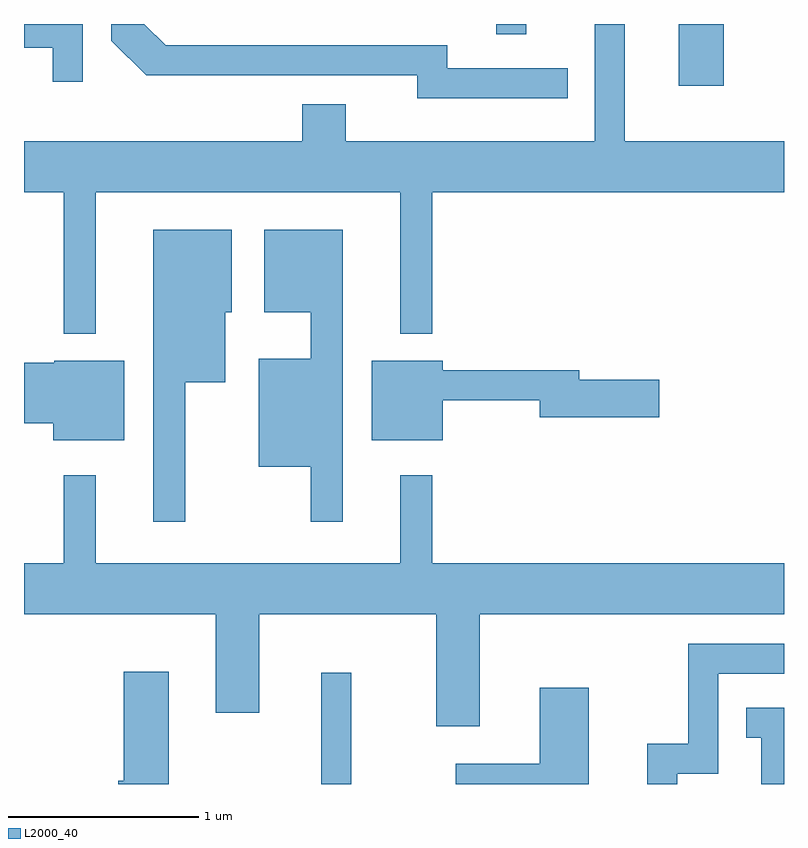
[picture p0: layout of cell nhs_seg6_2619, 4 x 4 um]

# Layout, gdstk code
import gdstk
lib = gdstk.Library(unit=1e-6, precision=1e-09)
def R(c, l, rs):  # rectangles x0, y0, x1, y1
    for r in rs: c.add(gdstk.rectangle(r[:2], r[2:], *l))
def P(c, l, *ps):  # polygons
    for p in ps: c.add(gdstk.Polygon(p, *l))
L2000_40 = (2000, 40)

nhs_seg6_2619 = lib.new_cell('nhs_seg6_2619')
R(nhs_seg6_2619, L2000_40, [(265.176,1640.162,265.334,1640.748), (267.056,1643.836,267.294,1644.162), (266.096,1644.108,266.254,1644.162)])
P(nhs_seg6_2619, L2000_40, [(263.989,1643.276),(265.591,1643.276),(265.591,1642.533),(265.759,1642.533),(265.759,1643.276),(267.611,1643.276),(267.611,1643.544),(266.774,1643.544),(266.774,1644.162),(266.616,1644.162),(266.616,1643.544),(265.304,1643.544),(265.304,1643.739),(265.076,1643.739),(265.076,1643.544),(263.611,1643.544),(263.611,1643.276),(263.821,1643.276),(263.821,1642.533),(263.989,1642.533)],
  [(266.473,1643.929),(265.839,1643.929),(265.839,1644.049),(264.357,1644.049),(264.244,1644.162),(264.071,1644.162),(264.071,1644.074),(264.254,1643.891),(265.681,1643.891),(265.681,1643.771),(266.473,1643.771)],
  [(263.919,1644.162),(263.611,1644.162),(263.611,1644.036),(263.761,1644.036),(263.761,1643.858),(263.919,1643.858)],
  [(265.289,1643.079),(264.876,1643.079),(264.876,1642.646),(265.121,1642.646),(265.121,1642.399),(264.846,1642.399),(264.846,1641.831),(265.121,1641.831),(265.121,1641.543),(265.289,1641.543)],
  [(264.459,1642.276),(264.669,1642.276),(264.669,1642.646),(264.704,1642.646),(264.704,1643.079),(264.291,1643.079),(264.291,1641.543),(264.459,1641.543)],
  [(265.814,1642.181),(266.326,1642.181),(266.326,1642.091),(266.954,1642.091),(266.954,1642.289),(266.534,1642.289),(266.534,1642.339),(265.814,1642.339),(265.814,1642.389),(265.441,1642.389),(265.441,1641.971),(265.814,1641.971)],
  [(264.139,1642.389),(263.77,1642.389),(263.77,1642.379),(263.611,1642.379),(263.611,1642.061),(263.766,1642.061),(263.766,1641.971),(264.139,1641.971)],
  [(265.759,1641.788),(265.591,1641.788),(265.591,1641.324),(263.989,1641.324),(263.989,1641.788),(263.821,1641.788),(263.821,1641.324),(263.611,1641.324),(263.611,1641.056),(264.621,1641.056),(264.621,1640.536),(264.849,1640.536),(264.849,1641.056),(265.781,1641.056),(265.781,1640.466),(266.009,1640.466),(266.009,1641.056),(267.611,1641.056),(267.611,1641.324),(265.759,1641.324)],
  [(267.049,1640.216),(267.264,1640.216),(267.264,1640.741),(267.611,1640.741),(267.611,1640.899),(267.106,1640.899),(267.106,1640.374),(266.891,1640.374),(266.891,1640.162),(267.049,1640.162)],
  [(264.374,1640.754),(264.136,1640.754),(264.136,1640.179),(264.106,1640.179),(264.106,1640.162),(264.374,1640.162)],
  [(266.584,1640.669),(266.326,1640.669),(266.326,1640.269),(265.883,1640.269),(265.883,1640.162),(266.584,1640.162)],
  [(267.611,1640.564),(267.413,1640.564),(267.413,1640.406),(267.491,1640.406),(267.491,1640.162),(267.611,1640.162)])

lib.write_gds('nhs_seg6_2619.gds')
